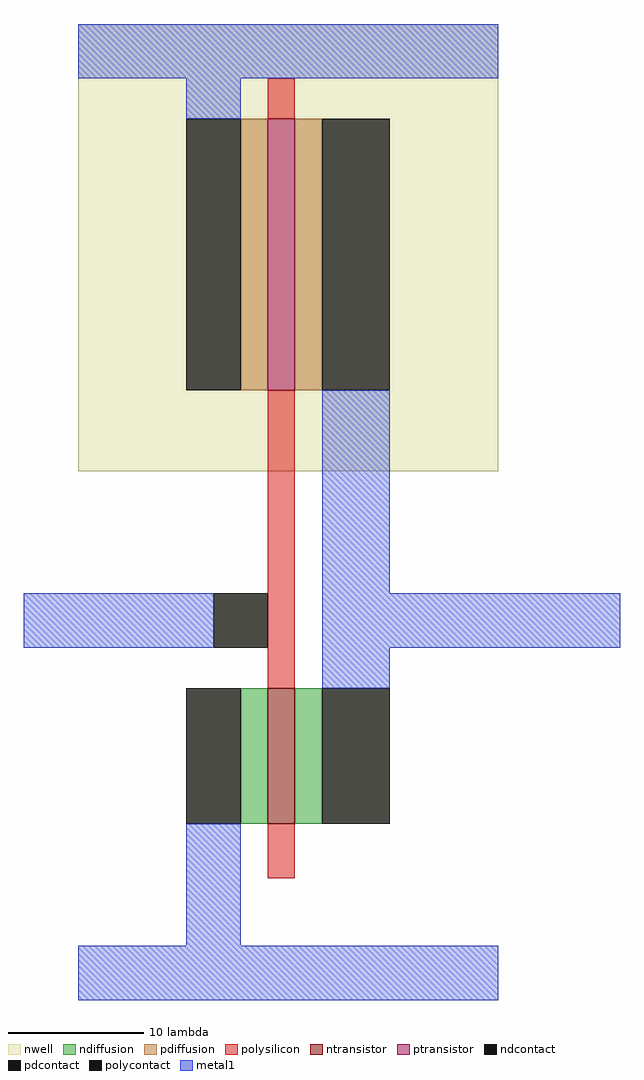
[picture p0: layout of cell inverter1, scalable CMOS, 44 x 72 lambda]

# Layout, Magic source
magic
tech scmos
<< nwell >>
rect -19 78 12 111
<< ntransistor >>
rect -5 52 -3 62
<< ptransistor >>
rect -5 84 -3 104
<< ndiffusion >>
rect -7 52 -5 62
rect -3 52 -1 62
<< pdiffusion >>
rect -7 84 -5 104
rect -3 84 -1 104
<< ndcontact >>
rect -11 52 -7 62
rect -1 52 4 62
<< pdcontact >>
rect -11 84 -7 104
rect -1 84 4 104
<< polysilicon >>
rect -5 104 -3 107
rect -5 62 -3 84
rect -5 48 -3 52
<< polycontact >>
rect -9 65 -5 69
<< metal1 >>
rect -19 107 12 111
rect -11 104 -7 107
rect -1 69 4 84
rect -23 65 -9 69
rect -1 65 21 69
rect -1 62 4 65
rect -11 43 -7 52
rect -19 39 12 43
<< end >>
